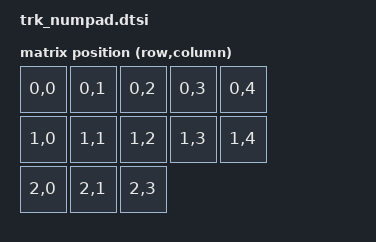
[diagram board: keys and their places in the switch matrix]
#include "trk_numpad-layouts.dtsi"
#include <dt-bindings/zmk/matrix_transform.h>

/ {
    matrix_transform0: matrix_transform0 {
        compatible = "zmk,matrix-transform";
        columns = <5>;
        rows = <3>;
        map = <
            RC(0,0) RC(0,1) RC(0,2) RC(0,3) RC(0,4)
            RC(1,0) RC(1,1) RC(1,2) RC(1,3) RC(1,4)
            RC(2,0) RC(2,1) RC(2,3)
        >;
    };
};

&physical_layout_trk_numpad {
    transform = <&matrix_transform0>;
};

